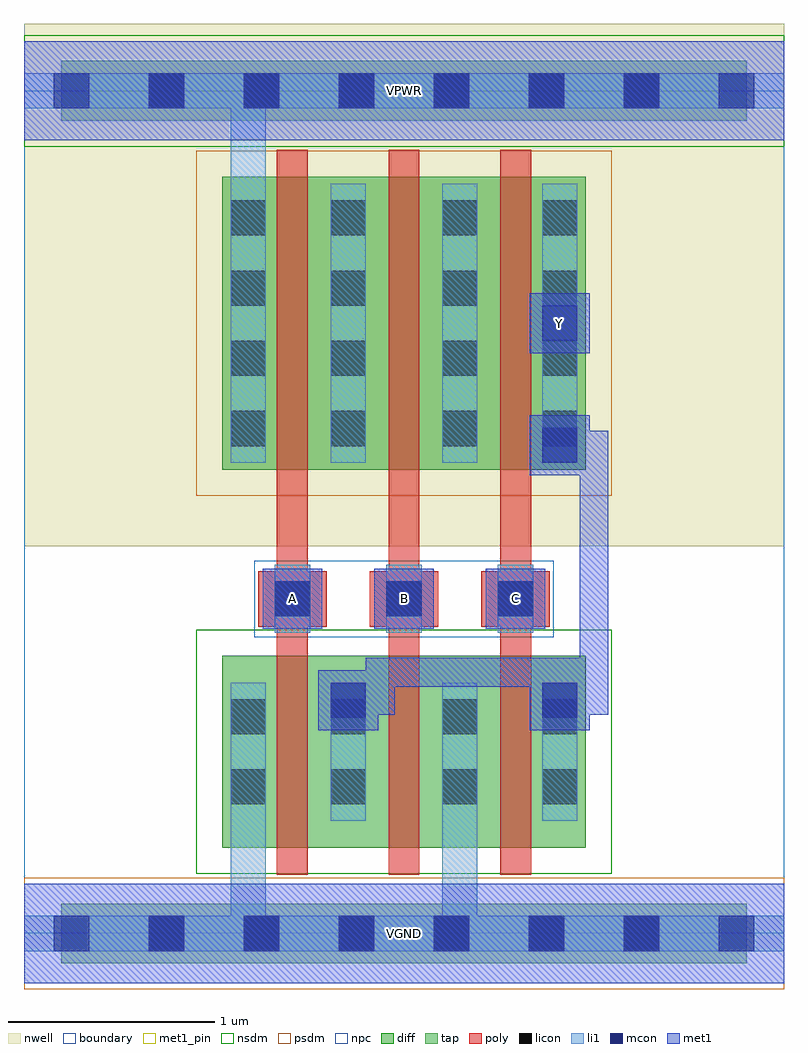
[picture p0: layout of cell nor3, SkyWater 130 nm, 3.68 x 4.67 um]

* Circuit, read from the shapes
.subckt nor3 A B C VGND VPWR Y
XM1 Y A VGND VGND sky130_fd_pr__nfet_01v8 w=0.93 l=0.15
XM2 VGND B Y VGND sky130_fd_pr__nfet_01v8 w=0.93 l=0.15
XM3 Y C VGND VGND sky130_fd_pr__nfet_01v8 w=0.93 l=0.15
XM4 n1 A VPWR VPWR sky130_fd_pr__pfet_01v8 w=1.42 l=0.15
XM5 n2 B n1 VPWR sky130_fd_pr__pfet_01v8 w=1.42 l=0.15
XM6 Y C n2 VPWR sky130_fd_pr__pfet_01v8 w=1.42 l=0.15
.ends

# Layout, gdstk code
import gdstk
lib = gdstk.Library(unit=1e-6, precision=1e-09)
def R(c, l, rs):  # rectangles x0, y0, x1, y1
    for r in rs: c.add(gdstk.rectangle(r[:2], r[2:], *l))
def A(c, l, x, y, w, h, nx, ny, dx, dy):  # array of equal rectangles
    R(c, l, [(x+i*dx, y+j*dy, x+i*dx+w, y+j*dy+h) for i in range(nx) for j in range(ny)])
nwell = (64, 20)
diff = (65, 20)
tap = (65, 44)
poly = (66, 20)
licon = (66, 44)
li1 = (67, 20)
mcon = (67, 44)
met1_pin = (68, 16)
met1 = (68, 20)
nsdm = (93, 44)
psdm = (94, 20)
npc = (95, 20)
boundary = (235, 4)

nor3 = lib.new_cell('nor3')
R(nor3, nwell, [(0,1.875,3.68,4.405)])
R(nor3, diff, [(0.96,0.415,2.72,1.345), (0.96,2.245,2.72,3.665)])
R(nor3, tap, [(0.18,-0.145,3.5,0.145), (0.18,3.935,3.5,4.225)])
A(nor3, poly, 1.225, 0.285, 0.15, 3.51, 3, 1, 0.54, 0)
A(nor3, poly, 1.135, 1.485, 0.33, 0.27, 3, 1, 0.54, 0)
A(nor3, licon, 0.605, -0.085, 0.17, 0.17, 6, 2, 0.46, 4.08)
A(nor3, licon, 1.215, 1.535, 0.17, 0.17, 3, 1, 0.54, 0)
A(nor3, licon, 1, 2.36, 0.17, 0.17, 1, 4, 0, 0.34)
A(nor3, licon, 1.485, 2.36, 0.17, 0.17, 1, 4, 0, 0.34)
A(nor3, licon, 2.025, 2.36, 0.17, 0.17, 1, 4, 0, 0.34)
A(nor3, licon, 2.51, 2.36, 0.17, 0.17, 1, 4, 0, 0.34)
R(nor3, licon, [(1,0.625,1.17,0.795), (1.485,0.625,1.655,0.795), (2.025,0.625,2.195,0.795), (2.51,0.625,2.68,0.795), (1,0.965,1.17,1.135), (1.485,0.965,1.655,1.135), (2.025,0.965,2.195,1.135), (2.51,0.965,2.68,1.135)])
A(nor3, li1, 1.215, 1.455, 0.17, 0.33, 3, 1, 0.54, 0)
R(nor3, li1, [(0,-0.085,3.68,0.085), (1,-0.085,1.17,1.215), (2.025,-0.085,2.195,1.215), (1,0.545,1.17,1.215), (1.485,0.545,1.655,1.215), (2.025,0.545,2.195,1.215), (2.51,0.545,2.68,1.215), (1,2.28,1.17,3.63), (1,2.28,1.17,4.165), (1.485,2.28,1.655,3.63), (2.025,2.28,2.195,3.63), (2.51,2.28,2.68,3.63), (0,3.995,3.68,4.165)])
A(nor3, mcon, 0.145, -0.085, 0.17, 0.17, 8, 2, 0.46, 4.08)
A(nor3, mcon, 1.215, 1.535, 0.17, 0.17, 3, 1, 0.54, 0)
R(nor3, mcon, [(1.485,1.045,1.655,1.215), (2.51,1.045,2.68,1.215), (2.51,2.28,2.68,2.45), (2.51,2.87,2.68,3.04)])
A(nor3, met1_pin, 1.155, 1.475, 0.29, 0.29, 3, 1, 0.54, 0)
R(nor3, met1_pin, [(0,-0.24,3.68,0.24), (2.45,2.81,2.74,3.1), (0,3.84,3.68,4.32)])
A(nor3, met1, 1.155, 1.475, 0.29, 0.29, 3, 1, 0.54, 0)
R(nor3, met1, [(0,-0.24,3.68,0.24), (1.425,0.985,1.715,1.275), (2.45,0.985,2.74,1.275), (1.5,1.06,1.795,1.2), (1.655,1.06,1.795,1.335), (2.525,1.06,2.83,1.2), (2.69,1.06,2.83,1.335), (1.655,1.195,2.83,1.335), (2.69,1.195,2.83,2.255), (2.69,2.115,2.83,2.435), (2.45,2.22,2.74,2.51), (2.525,2.295,2.83,2.435), (2.45,2.81,2.74,3.1), (0,3.84,3.68,4.32)])
R(nor3, nsdm, [(0.835,0.29,2.845,1.47), (0,3.81,3.68,4.35)])
R(nor3, psdm, [(0,-0.27,3.68,0.27), (0.835,2.12,2.845,3.79)])
R(nor3, npc, [(1.115,1.435,2.565,1.805)])
R(nor3, boundary, [(0,0,3.68,4.08)])
nor3.add(gdstk.Label('A', (1.3,1.62), layer=68, texttype=5))
nor3.add(gdstk.Label('B', (1.84,1.62), layer=68, texttype=5))
nor3.add(gdstk.Label('C', (2.38,1.62), layer=68, texttype=5))
nor3.add(gdstk.Label('Y', (2.595,2.955), layer=68, texttype=5))
nor3.add(gdstk.Label('VPWR', (1.84,4.08), layer=68, texttype=5))
nor3.add(gdstk.Label('VGND', (1.84,0), layer=68, texttype=5))
nor3.add(gdstk.Label('A', (1.3,1.62), layer=68, texttype=16))
nor3.add(gdstk.Label('B', (1.84,1.62), layer=68, texttype=16))
nor3.add(gdstk.Label('C', (2.38,1.62), layer=68, texttype=16))
nor3.add(gdstk.Label('Y', (2.595,2.955), layer=68, texttype=16))
nor3.add(gdstk.Label('VPWR', (1.84,4.08), layer=68, texttype=16))
nor3.add(gdstk.Label('VGND', (1.84,0), layer=68, texttype=16))

lib.write_gds('nor3.gds')
